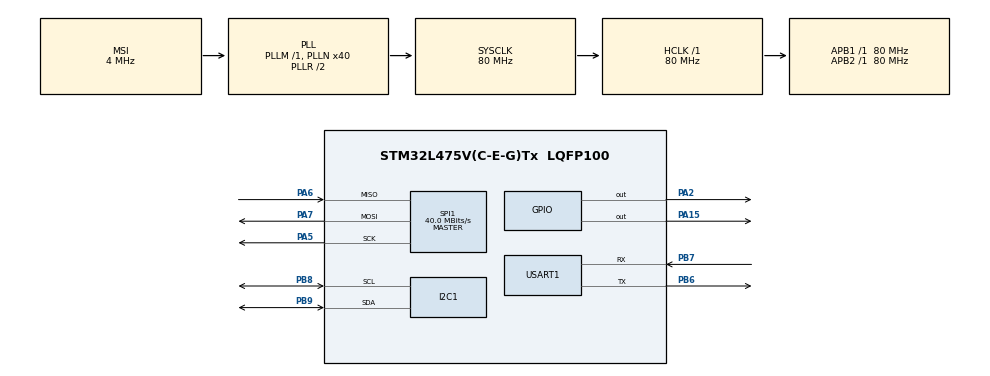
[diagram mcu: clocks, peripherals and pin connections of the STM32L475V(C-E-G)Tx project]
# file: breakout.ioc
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I2C1.Timing=0x10909CEC
Mcu.Family=STM32L4
Mcu.Name=STM32L475V(C-E-G)Tx
Mcu.Package=LQFP100
NVIC.PriorityGroup=NVIC_PRIORITYGROUP_4
PA15\ (JTDI).Signal=GPIO_Output
PA2.Signal=GPIO_Output
PA5.Mode=Full_Duplex_Master
PA5.Signal=SPI1_SCK
PA6.Mode=Full_Duplex_Master
PA6.Signal=SPI1_MISO
PA7.Mode=Full_Duplex_Master
PA7.Signal=SPI1_MOSI
PB6.Mode=Asynchronous
PB6.Signal=USART1_TX
PB7.Mode=Asynchronous
PB7.Signal=USART1_RX
PB8.Mode=I2C
PB8.Signal=I2C1_SCL
PB9.Mode=I2C
PB9.Signal=I2C1_SDA
ProjectManager.HeapSize=0x200
ProjectManager.StackSize=0x400
ProjectManager.TargetToolchain=EWARM V8.32
RCC.AHBFreq_Value=80000000
RCC.APB1Freq_Value=80000000
RCC.APB1TimFreq_Value=80000000
RCC.APB2Freq_Value=80000000
RCC.APB2TimFreq_Value=80000000
RCC.CortexFreq_Value=80000000
RCC.HCLKFreq_Value=80000000
RCC.HSE_VALUE=8000000
RCC.HSI_VALUE=16000000
RCC.LSE_VALUE=32768
RCC.MSI_VALUE=4000000
RCC.PLLN=40
RCC.SYSCLKFreq_VALUE=80000000
RCC.SYSCLKSource=RCC_SYSCLKSOURCE_PLLCLK
RCC.VCOOutputFreq_Value=160000000
SPI1.CalculateBaudRate=40.0 MBits/s
SPI1.DataSize=SPI_DATASIZE_8BIT
SPI1.Direction=SPI_DIRECTION_2LINES
SPI1.Mode=SPI_MODE_MASTER
SPI1.VirtualType=VM_MASTER
USART1.VirtualMode-Asynchronous=VM_ASYNC
board=custom

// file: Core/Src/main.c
/* USER CODE BEGIN Header */
/**
  ******************************************************************************
  * @file           : main.c
  * @brief          : Main program body
  ******************************************************************************
  * @attention
  *
  * Copyright (c) 2022 STMicroelectronics.
  * All rights reserved.
  *
  * This software is licensed under terms that can be found in the LICENSE file
  * in the root directory of this software component.
  * If no LICENSE file comes with this software, it is provided AS-IS.
  *
  ******************************************************************************
  */
/* USER CODE END Header */
#include "main.h"

/* USER CODE BEGIN Includes */
#include <stdio.h>
#include "gfx.h"
#include "ft6206.h"
#include "state.h"
/* USER CODE END Includes */

I2C_HandleTypeDef hi2c1;

SPI_HandleTypeDef hspi1;

UART_HandleTypeDef huart1;

void SystemClock_Config(void);
static void MX_GPIO_Init(void);
static void MX_I2C1_Init(void);
static void MX_SPI1_Init(void);
static void MX_USART1_UART_Init(void);

/* USER CODE BEGIN 0 */
int __write(int file, char *data, int len)
{
   // arbitrary timeout 1000
   HAL_StatusTypeDef status =
      HAL_UART_Transmit(&huart1, (uint8_t*)data, len, 1000);

   // return # of bytes written - as best we can tell
   return (status == HAL_OK ? len : 0);
}

state *active;
state *next = 0;
/* USER CODE END 0 */

int main(void)
{

  /* MCU Configuration--------------------------------------------------------*/

  /* Reset of all peripherals, Initializes the Flash interface and the Systick. */
  HAL_Init();

  /* Configure the system clock */
  SystemClock_Config();

  /* Initialize all configured peripherals */
  MX_GPIO_Init();
  MX_I2C1_Init();
  MX_SPI1_Init();
  MX_USART1_UART_Init();
  /* USER CODE BEGIN 2 */
  ft6206_init(&hi2c1);
  gfx_init(&hspi1);

  u32 start, end;
  active = &intro;
  active->init();
  /* USER CODE END 2 */

  /* Infinite loop */
  /* USER CODE BEGIN WHILE */
  while (1)
  {
    start = HAL_GetTick();

    active->loop();

    if (next)
    {
      active = next;
      active->init();
      next = 0;
    }

    // fps locked to 30
    while (HAL_GetTick() - start < 33);
    end = HAL_GetTick();
    // printf("fps: %lf\r\n", 1000.0 / (end - start));

    /* USER CODE END WHILE */

  }
}

void SystemClock_Config(void)
{
  RCC_OscInitTypeDef RCC_OscInitStruct = {0};
  RCC_ClkInitTypeDef RCC_ClkInitStruct = {0};

  /** Configure the main internal regulator output voltage
  */
  if (HAL_PWREx_ControlVoltageScaling(PWR_REGULATOR_VOLTAGE_SCALE1) != HAL_OK)
  {
    Error_Handler();
  }

  /** Initializes the RCC Oscillators according to the specified parameters
  * in the RCC_OscInitTypeDef structure.
  */
  RCC_OscInitStruct.OscillatorType = RCC_OSCILLATORTYPE_MSI;
  RCC_OscInitStruct.MSIState = RCC_MSI_ON;
  RCC_OscInitStruct.MSICalibrationValue = 0;
  RCC_OscInitStruct.MSIClockRange = RCC_MSIRANGE_6;
  RCC_OscInitStruct.PLL.PLLState = RCC_PLL_ON;
  RCC_OscInitStruct.PLL.PLLSource = RCC_PLLSOURCE_MSI;
  RCC_OscInitStruct.PLL.PLLM = 1;
  RCC_OscInitStruct.PLL.PLLN = 40;
  RCC_OscInitStruct.PLL.PLLP = RCC_PLLP_DIV7;
  RCC_OscInitStruct.PLL.PLLQ = RCC_PLLQ_DIV2;
  RCC_OscInitStruct.PLL.PLLR = RCC_PLLR_DIV2;
  if (HAL_RCC_OscConfig(&RCC_OscInitStruct) != HAL_OK)
  {
    Error_Handler();
  }

  /** Initializes the CPU, AHB and APB buses clocks
  */
  RCC_ClkInitStruct.ClockType = RCC_CLOCKTYPE_HCLK|RCC_CLOCKTYPE_SYSCLK
                              |RCC_CLOCKTYPE_PCLK1|RCC_CLOCKTYPE_PCLK2;
  RCC_ClkInitStruct.SYSCLKSource = RCC_SYSCLKSOURCE_PLLCLK;
  RCC_ClkInitStruct.AHBCLKDivider = RCC_SYSCLK_DIV1;
  RCC_ClkInitStruct.APB1CLKDivider = RCC_HCLK_DIV1;
  RCC_ClkInitStruct.APB2CLKDivider = RCC_HCLK_DIV1;

  if (HAL_RCC_ClockConfig(&RCC_ClkInitStruct, FLASH_LATENCY_4) != HAL_OK)
  {
    Error_Handler();
  }
}

static void MX_I2C1_Init(void)
{

  hi2c1.Instance = I2C1;
  hi2c1.Init.Timing = 0x10909CEC;
  hi2c1.Init.OwnAddress1 = 0;
  hi2c1.Init.AddressingMode = I2C_ADDRESSINGMODE_7BIT;
  hi2c1.Init.DualAddressMode = I2C_DUALADDRESS_DISABLE;
  hi2c1.Init.OwnAddress2 = 0;
  hi2c1.Init.OwnAddress2Masks = I2C_OA2_NOMASK;
  hi2c1.Init.GeneralCallMode = I2C_GENERALCALL_DISABLE;
  hi2c1.Init.NoStretchMode = I2C_NOSTRETCH_DISABLE;
  if (HAL_I2C_Init(&hi2c1) != HAL_OK)
  {
    Error_Handler();
  }

  /** Configure Analogue filter
  */
  if (HAL_I2CEx_ConfigAnalogFilter(&hi2c1, I2C_ANALOGFILTER_ENABLE) != HAL_OK)
  {
    Error_Handler();
  }

  /** Configure Digital filter
  */
  if (HAL_I2CEx_ConfigDigitalFilter(&hi2c1, 0) != HAL_OK)
  {
    Error_Handler();
  }

}

static void MX_SPI1_Init(void)
{

  /* SPI1 parameter configuration*/
  hspi1.Instance = SPI1;
  hspi1.Init.Mode = SPI_MODE_MASTER;
  hspi1.Init.Direction = SPI_DIRECTION_2LINES;
  hspi1.Init.DataSize = SPI_DATASIZE_8BIT;
  hspi1.Init.CLKPolarity = SPI_POLARITY_LOW;
  hspi1.Init.CLKPhase = SPI_PHASE_1EDGE;
  hspi1.Init.NSS = SPI_NSS_SOFT;
  hspi1.Init.BaudRatePrescaler = SPI_BAUDRATEPRESCALER_2;
  hspi1.Init.FirstBit = SPI_FIRSTBIT_MSB;
  hspi1.Init.TIMode = SPI_TIMODE_DISABLE;
  hspi1.Init.CRCCalculation = SPI_CRCCALCULATION_DISABLE;
  hspi1.Init.CRCPolynomial = 7;
  hspi1.Init.CRCLength = SPI_CRC_LENGTH_DATASIZE;
  hspi1.Init.NSSPMode = SPI_NSS_PULSE_ENABLE;
  if (HAL_SPI_Init(&hspi1) != HAL_OK)
  {
    Error_Handler();
  }

}

static void MX_USART1_UART_Init(void)
{

  huart1.Instance = USART1;
  huart1.Init.BaudRate = 115200;
  huart1.Init.WordLength = UART_WORDLENGTH_8B;
  huart1.Init.StopBits = UART_STOPBITS_1;
  huart1.Init.Parity = UART_PARITY_NONE;
  huart1.Init.Mode = UART_MODE_TX_RX;
  huart1.Init.HwFlowCtl = UART_HWCONTROL_NONE;
  huart1.Init.OverSampling = UART_OVERSAMPLING_16;
  huart1.Init.OneBitSampling = UART_ONE_BIT_SAMPLE_DISABLE;
  huart1.AdvancedInit.AdvFeatureInit = UART_ADVFEATURE_NO_INIT;
  if (HAL_UART_Init(&huart1) != HAL_OK)
  {
    Error_Handler();
  }

}

static void MX_GPIO_Init(void)
{
  GPIO_InitTypeDef GPIO_InitStruct = {0};

  /* GPIO Ports Clock Enable */
  __HAL_RCC_GPIOA_CLK_ENABLE();
  __HAL_RCC_GPIOB_CLK_ENABLE();

  /*Configure GPIO pin Output Level */
  HAL_GPIO_WritePin(GPIOA, GPIO_PIN_2|GPIO_PIN_15, GPIO_PIN_RESET);

  /*Configure GPIO pins : PA2 PA15 */
  GPIO_InitStruct.Pin = GPIO_PIN_2|GPIO_PIN_15;
  GPIO_InitStruct.Mode = GPIO_MODE_OUTPUT_PP;
  GPIO_InitStruct.Pull = GPIO_NOPULL;
  GPIO_InitStruct.Speed = GPIO_SPEED_FREQ_LOW;
  HAL_GPIO_Init(GPIOA, &GPIO_InitStruct);

}

void Error_Handler(void)
{
  __disable_irq();
  while (1)
  {
  }
}
